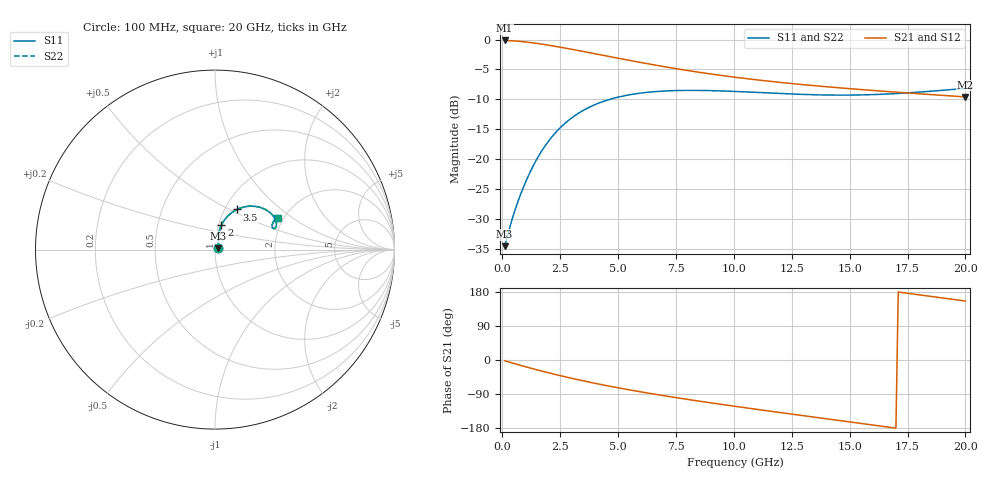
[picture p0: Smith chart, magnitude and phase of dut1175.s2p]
! Touchstone file exported from HFSS 2024.1.0
!  File:  C:/UserFiles/LocalFiles/RDL_TSV_Batchsim/temp_RDL_TSV_1175_1780124273.aedt
!  Generated:  03:13:32 PM May 30, 2026
!  Design:  RDL_TSV
!  Project:  temp_RDL_TSV_1175_1780124273
!  Setup:  Setup1
!  Solution:  Sweep
! Variables:
!  dtsv = 10.34um
!  hbump = 3um
!  htsv = 56.68um
!  ldown = 166.09um
!  lrdl = 651.72um
!  p = 40
!  p1 = 58.28um
!  rhole = 10um
!  subl = 3105.15um
!  t = 450um
!  tdown = 3.96um
!  trdl = 3.36um
!  viad = 10um
!  wdown = 20.54um
!  wrdl = 18.38um
!  xbump = 18um
# GHz S MA R 50.000000
! Terminal data exported
! Port[1] = TM1_1_T1
! Port[2] = TM1_4_T1
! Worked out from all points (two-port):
!   200 points, 100 MHz to 20 GHz, reference 50 ohm
!   highest |S21| = -0.16 dB at 100 MHz (marker M1); lowest = -9.6 dB at 20 GHz (marker M2)
!   |S21| within 3 dB of the highest: start of sweep to 5.039 GHz
!   lowest |S11| = -34.6 dB at 100 MHz (marker M3), VSWR 1.04, Z = 51.8 + j0.65 ohm
!   |S11| at or under -10 dB: start of sweep to 4.654 GHz
!   |S22| runs from -34.6 to -8.2 dB; largest |S21 - S12| = 1.6e-14
!   S11 on the Smith chart (normalised r, x): 100 MHz: 1.04, +0.01; 2 GHz: 1.03, +0.29; 3.5 GHz: 1.14, +0.55; 20 GHz: 1.86, +0.77
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0.1  0.01865 19.7  0.9821 -1.9  0.9821 -1.9  0.01865 19.7
! Gamma 0 0 0 0
! Port Impedance 50 0 50 0
0.5  0.03491 57.7  0.9736 -9.1  0.9736 -9.1  0.0349 57.7
0.7  0.04532 65.9  0.9669 -12.6  0.9669 -12.6  0.04532 65.9
1  0.06368 73.1  0.9543 -17.7  0.9543 -17.7  0.0637 73.2
1.2  0.07761 75.5  0.9443 -21.1  0.9443 -21.1  0.07765 75.6
1.5  0.1005 76.9  0.9276 -26.0  0.9276 -26.0  0.1005 76.9
2  0.1414 75.2  0.8963 -33.9  0.8963 -33.9  0.1416 75.3
2.3  0.1663 73.0  0.8764 -38.4  0.8764 -38.4  0.1666 73.1
2.7  0.1985 69.3  0.8491 -44.2  0.8491 -44.2  0.1988 69.4
3.5  0.2556 61.1  0.7943 -55.1  0.7943 -55.1  0.2561 61.2
4.2  0.2955 54.1  0.7477 -63.9  0.7477 -63.9  0.2962 54.2
4.9  0.3259 47.7  0.7037 -72.3  0.7037 -72.3  0.3266 47.8
5.8  0.3524 40.5  0.6519 -82.2  0.6519 -82.2  0.3534 40.6
6.8  0.3687 34.0  0.6015 -92.5  0.6015 -92.5  0.3699 34.0
8.4  0.3752 26.3  0.5355 -107.7  0.5355 -107.7  0.3766 26.4
10.1  0.3674 21.4  0.4822 -122.6  0.4822 -122.6  0.3689 21.5
11.7  0.3554 19.6  0.4439 -136.2  0.4439 -136.2  0.3571 19.6
13.4  0.3452 19.9  0.4121 -150.2  0.4121 -150.2  0.3469 19.9
15  0.3428 21.8  0.388 -163.4  0.388 -163.4  0.3444 21.7
16.7  0.3504 24.3  0.3662 -177.4  0.3662 -177.4  0.3518 24.1
18.3  0.3666 26.1  0.3483 169.5  0.3483 169.5  0.3678 25.9
20  0.3899 26.9  0.331 155.6  0.331 155.6  0.3908 26.7
